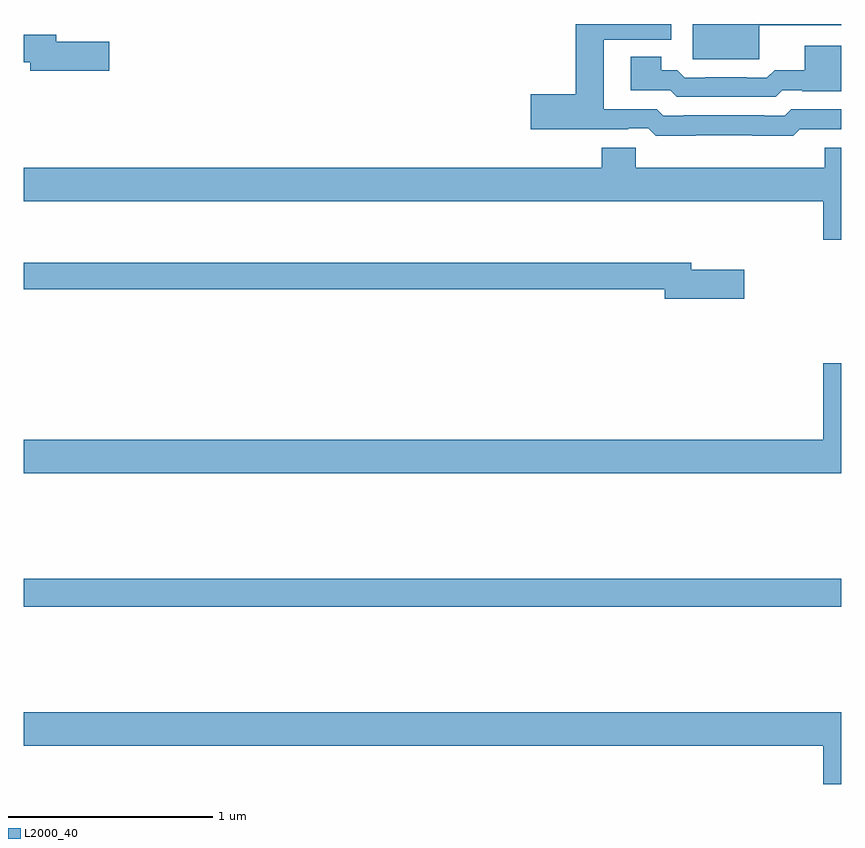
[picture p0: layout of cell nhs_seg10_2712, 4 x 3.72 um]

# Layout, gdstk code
import gdstk
lib = gdstk.Library(unit=1e-6, precision=1e-09)
def R(c, l, rs):  # rectangles x0, y0, x1, y1
    for r in rs: c.add(gdstk.rectangle(r[:2], r[2:], *l))
def P(c, l, *ps):  # polygons
    for p in ps: c.add(gdstk.Polygon(p, *l))
L2000_40 = (2000, 40)

nhs_seg10_2712 = lib.new_cell('nhs_seg10_2712')
R(nhs_seg10_2712, L2000_40, [(257,1315.648,261,1315.784)])
P(nhs_seg10_2712, L2000_40, [(260.599,1318.494),(261,1318.494),(261,1318.5),(260.273,1318.5),(260.273,1318.328),(260.599,1318.328)],
  [(260.288,1317.956),(260.566,1317.956),(260.566,1317.954),(260.765,1317.954),(260.797,1317.986),(261,1317.986),(261,1318.083),(260.757,1318.083),(260.724,1318.05),(260.624,1318.05),(260.624,1318.053),(260.23,1318.053),(260.23,1318.05),(260.13,1318.05),(260.097,1318.083),(259.837,1318.083),(259.837,1318.424),(260.169,1318.424),(260.169,1318.5),(259.7,1318.5),(259.7,1318.157),(259.482,1318.157),(259.482,1317.986),(259.958,1317.986),(259.958,1317.99),(260.057,1317.99),(260.093,1317.954),(260.288,1317.954)],
  [(257.419,1318.412),(257.158,1318.412),(257.158,1318.448),(257,1318.448),(257,1318.312),(257.03,1318.312),(257.03,1318.27),(257.419,1318.27)],
  [(260.713,1318.176),(260.809,1318.176),(260.809,1318.172),(261,1318.172),(261,1318.393),(260.822,1318.393),(260.822,1318.274),(260.675,1318.274),(260.637,1318.236),(260.537,1318.236),(260.537,1318.239),(260.335,1318.239),(260.335,1318.236),(260.235,1318.236),(260.199,1318.273),(260.119,1318.273),(260.119,1318.339),(259.971,1318.339),(259.971,1318.176),(260.163,1318.176),(260.196,1318.143),(260.68,1318.143)],
  [(261,1317.895),(260.921,1317.895),(260.921,1317.796),(259.994,1317.796),(259.994,1317.895),(259.829,1317.895),(259.829,1317.796),(257,1317.796),(257,1317.632),(260.912,1317.632),(260.912,1317.444),(261,1317.444)],
  [(260.527,1317.297),(260.266,1317.297),(260.266,1317.331),(257,1317.331),(257,1317.202),(260.138,1317.202),(260.138,1317.155),(260.527,1317.155)],
  [(261,1316.839),(260.912,1316.839),(260.912,1316.464),(257,1316.464),(257,1316.3),(261,1316.3)],
  [(261,1315.132),(257,1315.132),(257,1314.968),(260.912,1314.968),(260.912,1314.78),(261,1314.78)])

lib.write_gds('nhs_seg10_2712.gds')
